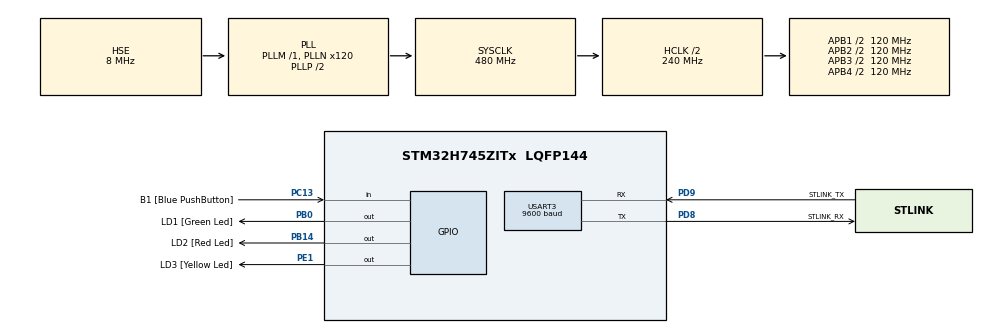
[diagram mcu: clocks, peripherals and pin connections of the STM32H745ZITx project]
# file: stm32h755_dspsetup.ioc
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CortexM4.IPs=BDMA,CORTEX_M4\:I,DEBUG,DMA,FATFS_M4\:I,FREERTOS_M4\:I,GPIO,IWDG2\:I,MDMA,NVIC2\:I,OPENAMP_M4\:I,PDM2PCM_M4\:I,PWR,RCC,RESMGR_UTILITY,SYS_M4\:I,USB_DEVICE_M4\:I,USB_HOST_M4\:I,VREFBUF,WWDG2\:I,USART3
CortexM4.Pins=PE1
CortexM7.IPs=BDMA\:I,CORTEX_M7\:I,DEBUG\:I,DMA\:I,FATFS_M7\:I,FREERTOS_M7\:I,GPIO\:I,IWDG1\:I,MDMA\:I,NVIC1\:I,OPENAMP_M7\:I,PDM2PCM_M7\:I,PWR\:I,RCC\:I,RESMGR_UTILITY\:I,SYS\:I,USB_DEVICE_M7\:I,USB_HOST_M7\:I,VREFBUF\:I,WWDG1\:I,USART3\:I
CortexM7.Pins=PC13,PB0,PB14
Mcu.Family=STM32H7
Mcu.Name=STM32H745ZITx
Mcu.Package=LQFP144
NVIC1.PriorityGroup=NVIC_PRIORITYGROUP_4
NVIC2.PriorityGroup=NVIC_PRIORITYGROUP_4
PA13\ (JTMS/SWDIO).Mode=Serial_Wire
PA13\ (JTMS/SWDIO).PinAttribute=CortexM7
PA13\ (JTMS/SWDIO).Signal=DEBUG_JTMS-SWDIO
PA14\ (JTCK/SWCLK).Mode=Serial_Wire
PA14\ (JTCK/SWCLK).PinAttribute=CortexM7
PA14\ (JTCK/SWCLK).Signal=DEBUG_JTCK-SWCLK
PB0.GPIO_Label=LD1 [Green Led]
PB0.PinAttribute=CortexM7
PB0.Signal=GPIO_Output
PB14.GPIO_Label=LD2 [Red Led]
PB14.PinAttribute=CortexM7
PB14.Signal=GPIO_Output
PC13.GPIO_Label=B1 [Blue PushButton]
PC13.PinAttribute=CortexM7
PC13.Signal=GPIO_Input
PC14-OSC32_IN\ (OSC32_IN).Mode=LSE-External-Oscillator
PC14-OSC32_IN\ (OSC32_IN).PinAttribute=CortexM7
PC14-OSC32_IN\ (OSC32_IN).Signal=RCC_OSC32_IN
PC15-OSC32_OUT\ (OSC32_OUT).Mode=LSE-External-Oscillator
PC15-OSC32_OUT\ (OSC32_OUT).PinAttribute=CortexM7
PC15-OSC32_OUT\ (OSC32_OUT).Signal=RCC_OSC32_OUT
PD8.GPIO_Label=STLINK_RX
PD8.Mode=Asynchronous
PD8.PinAttribute=CortexM7
PD8.Signal=USART3_TX
PD9.GPIO_Label=STLINK_TX
PD9.Mode=Asynchronous
PD9.PinAttribute=CortexM7
PD9.Signal=USART3_RX
PE1.GPIO_Label=LD3 [Yellow Led]
PE1.PinAttribute=CortexM4
PE1.Signal=GPIO_Output
PH0-OSC_IN\ (PH0).Mode=HSE-External-Clock-Source
PH0-OSC_IN\ (PH0).PinAttribute=CortexM7
PH0-OSC_IN\ (PH0).Signal=RCC_OSC_IN
ProjectManager.HeapSize=M4-0x200,M7-0x200
ProjectManager.StackSize=M4-0x400,M7-0x400
ProjectManager.TargetToolchain=STM32CubeIDE
RCC.ADCFreq_Value=16125000
RCC.APB1Freq_Value=120000000
RCC.APB2Freq_Value=120000000
RCC.APB3Freq_Value=120000000
RCC.APB4Freq_Value=120000000
RCC.CortexFreq_Value=480000000
RCC.D1PPRE=RCC_APB3_DIV2
RCC.D2PPRE1=RCC_APB1_DIV2
RCC.D2PPRE2=RCC_APB2_DIV2
RCC.D3PPRE=RCC_APB4_DIV2
RCC.DIVM1=1
RCC.DIVN1=120
RCC.HCLKFreq_Value=240000000
RCC.HPRE=RCC_HCLK_DIV2
RCC.HSE_VALUE=8000000
RCC.PLLSourceVirtual=RCC_PLLSOURCE_HSE
RCC.SYSCLKFreq_VALUE=480000000
RCC.SYSCLKSource=RCC_SYSCLKSOURCE_PLLCLK
RCC.USBFreq_Value=480000000
SYS.userName=SYS_M7
USART3.BaudRate=9600
USART3.VirtualMode-Asynchronous=VM_ASYNC
VP_SYS_M4_VS_Systick.Mode=SysTick
board=custom

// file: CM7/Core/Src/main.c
/* USER CODE BEGIN Header */
/**
  ******************************************************************************
  * @file           : main.c
  * @brief          : Main program body
  ******************************************************************************
  * @attention
  *
  * Copyright (c) 2024 STMicroelectronics.
  * All rights reserved.
  *
  * This software is licensed under terms that can be found in the LICENSE file
  * in the root directory of this software component.
  * If no LICENSE file comes with this software, it is provided AS-IS.
  *
  ******************************************************************************
  */
/* USER CODE END Header */
#include "main.h"

/* USER CODE BEGIN Includes */
#include <stdio.h>
#include "math.h"
#include "arm_math.h"
#include "arm_const_structs.h"
#define N 32
/* USER CODE END Includes */

/* USER CODE BEGIN PTD */
typedef union{
	float valf;
	uint32_t vali32;
	uint8_t vali8[4];
} FloatTOintType;
/* USER CODE END PTD */

/* USER CODE BEGIN PD */

#ifndef HSEM_ID_0
#define HSEM_ID_0 (0U) /* HW semaphore 0*/
#endif
/* USER CODE END PD */

UART_HandleTypeDef huart3;

/* USER CODE BEGIN PV */
int n;
float w0=PI/16;
float s[N];
/* USER CODE END PV */

void SystemClock_Config(void);
static void MX_GPIO_Init(void);
static void MX_USART3_UART_Init(void);

int main(void)
{
/* USER CODE BEGIN Boot_Mode_Sequence_0 */
  int32_t timeout;
/* USER CODE END Boot_Mode_Sequence_0 */

/* USER CODE BEGIN Boot_Mode_Sequence_1 */
  /* Wait until CPU2 boots and enters in stop mode or timeout*/
  timeout = 0xFFFF;
  while((__HAL_RCC_GET_FLAG(RCC_FLAG_D2CKRDY) != RESET) && (timeout-- > 0));
  if ( timeout < 0 )
  {
  Error_Handler();
  }
/* USER CODE END Boot_Mode_Sequence_1 */
  /* MCU Configuration--------------------------------------------------------*/

  /* Reset of all peripherals, Initializes the Flash interface and the Systick. */
  HAL_Init();

  /* Configure the system clock */
  SystemClock_Config();
/* USER CODE BEGIN Boot_Mode_Sequence_2 */
/* When system initialization is finished, Cortex-M7 will release Cortex-M4 by means of
HSEM notification */
/*HW semaphore Clock enable*/
__HAL_RCC_HSEM_CLK_ENABLE();
/*Take HSEM */
HAL_HSEM_FastTake(HSEM_ID_0);
/*Release HSEM in order to notify the CPU2(CM4)*/
HAL_HSEM_Release(HSEM_ID_0,0);
/* wait until CPU2 wakes up from stop mode */
timeout = 0xFFFF;
while((__HAL_RCC_GET_FLAG(RCC_FLAG_D2CKRDY) == RESET) && (timeout-- > 0));
if ( timeout < 0 )
{
Error_Handler();
}
/* USER CODE END Boot_Mode_Sequence_2 */

  /* Initialize all configured peripherals */
  MX_GPIO_Init();
  MX_USART3_UART_Init();

  /* Infinite loop */
  /* USER CODE BEGIN WHILE */
  uint8_t Buffer[30];

     for(n=0;n<N;n++){
       s[n]=sin(w0*(float)n);
     }

     FloatTOintType ToBuff;

    while (1) {
  	Buffer[0] = 0x6D;
  	HAL_UART_Transmit(&huart3, Buffer, 1, 1000);
  	HAL_Delay(10);
  	Buffer[0] = 96;//Modified from 16 to 32
  	HAL_UART_Transmit(&huart3, Buffer, 1, 1000);
  	HAL_Delay(10);

  	for(n=0;n<96;n++){//Modified from 16 to 32
  	   s[n]=sin(w0*(float)n);
  	   ToBuff.valf = s[n];
  	   Buffer[0] = ToBuff.vali8[0];
  	   Buffer[1] = ToBuff.vali8[1];
  	   Buffer[2] = ToBuff.vali8[2];
  	   Buffer[3] = ToBuff.vali8[3];
  	   HAL_UART_Transmit(&huart3, Buffer, 4, 1000);
  	   HAL_Delay(10);
  	}
  	HAL_GPIO_TogglePin(LD1_GPIO_Port, LD1_Pin);
  	HAL_Delay(10);

  	/* USER CODE END WHILE */

  }
}

void SystemClock_Config(void)
{
  RCC_OscInitTypeDef RCC_OscInitStruct = {0};
  RCC_ClkInitTypeDef RCC_ClkInitStruct = {0};

  /** Supply configuration update enable
  */
  HAL_PWREx_ConfigSupply(PWR_DIRECT_SMPS_SUPPLY);

  /** Configure the main internal regulator output voltage
  */
  __HAL_PWR_VOLTAGESCALING_CONFIG(PWR_REGULATOR_VOLTAGE_SCALE0);

  while(!__HAL_PWR_GET_FLAG(PWR_FLAG_VOSRDY)) {}

  /** Initializes the RCC Oscillators according to the specified parameters
  * in the RCC_OscInitTypeDef structure.
  */
  RCC_OscInitStruct.OscillatorType = RCC_OSCILLATORTYPE_HSE;
  RCC_OscInitStruct.HSEState = RCC_HSE_BYPASS;
  RCC_OscInitStruct.PLL.PLLState = RCC_PLL_ON;
  RCC_OscInitStruct.PLL.PLLSource = RCC_PLLSOURCE_HSE;
  RCC_OscInitStruct.PLL.PLLM = 1;
  RCC_OscInitStruct.PLL.PLLN = 120;
  RCC_OscInitStruct.PLL.PLLP = 2;
  RCC_OscInitStruct.PLL.PLLQ = 2;
  RCC_OscInitStruct.PLL.PLLR = 2;
  RCC_OscInitStruct.PLL.PLLRGE = RCC_PLL1VCIRANGE_3;
  RCC_OscInitStruct.PLL.PLLVCOSEL = RCC_PLL1VCOWIDE;
  RCC_OscInitStruct.PLL.PLLFRACN = 0;
  if (HAL_RCC_OscConfig(&RCC_OscInitStruct) != HAL_OK)
  {
    Error_Handler();
  }

  /** Initializes the CPU, AHB and APB buses clocks
  */
  RCC_ClkInitStruct.ClockType = RCC_CLOCKTYPE_HCLK|RCC_CLOCKTYPE_SYSCLK
                              |RCC_CLOCKTYPE_PCLK1|RCC_CLOCKTYPE_PCLK2
                              |RCC_CLOCKTYPE_D3PCLK1|RCC_CLOCKTYPE_D1PCLK1;
  RCC_ClkInitStruct.SYSCLKSource = RCC_SYSCLKSOURCE_PLLCLK;
  RCC_ClkInitStruct.SYSCLKDivider = RCC_SYSCLK_DIV1;
  RCC_ClkInitStruct.AHBCLKDivider = RCC_HCLK_DIV2;
  RCC_ClkInitStruct.APB3CLKDivider = RCC_APB3_DIV2;
  RCC_ClkInitStruct.APB1CLKDivider = RCC_APB1_DIV2;
  RCC_ClkInitStruct.APB2CLKDivider = RCC_APB2_DIV2;
  RCC_ClkInitStruct.APB4CLKDivider = RCC_APB4_DIV2;

  if (HAL_RCC_ClockConfig(&RCC_ClkInitStruct, FLASH_LATENCY_4) != HAL_OK)
  {
    Error_Handler();
  }
}

static void MX_USART3_UART_Init(void)
{

  huart3.Instance = USART3;
  huart3.Init.BaudRate = 115200;
  huart3.Init.WordLength = UART_WORDLENGTH_8B;
  huart3.Init.StopBits = UART_STOPBITS_1;
  huart3.Init.Parity = UART_PARITY_NONE;
  huart3.Init.Mode = UART_MODE_TX_RX;
  huart3.Init.HwFlowCtl = UART_HWCONTROL_NONE;
  huart3.Init.OverSampling = UART_OVERSAMPLING_16;
  huart3.Init.OneBitSampling = UART_ONE_BIT_SAMPLE_DISABLE;
  huart3.Init.ClockPrescaler = UART_PRESCALER_DIV1;
  huart3.AdvancedInit.AdvFeatureInit = UART_ADVFEATURE_NO_INIT;
  if (HAL_UART_Init(&huart3) != HAL_OK)
  {
    Error_Handler();
  }
  if (HAL_UARTEx_SetTxFifoThreshold(&huart3, UART_TXFIFO_THRESHOLD_1_8) != HAL_OK)
  {
    Error_Handler();
  }
  if (HAL_UARTEx_SetRxFifoThreshold(&huart3, UART_RXFIFO_THRESHOLD_1_8) != HAL_OK)
  {
    Error_Handler();
  }
  if (HAL_UARTEx_DisableFifoMode(&huart3) != HAL_OK)
  {
    Error_Handler();
  }

}

static void MX_GPIO_Init(void)
{
  GPIO_InitTypeDef GPIO_InitStruct = {0};

  /* GPIO Ports Clock Enable */
  __HAL_RCC_GPIOC_CLK_ENABLE();
  __HAL_RCC_GPIOH_CLK_ENABLE();
  __HAL_RCC_GPIOB_CLK_ENABLE();
  __HAL_RCC_GPIOD_CLK_ENABLE();
  __HAL_RCC_GPIOA_CLK_ENABLE();

  /*Configure GPIO pin Output Level */
  HAL_GPIO_WritePin(GPIOB, LD1_Pin|LD2_Pin, GPIO_PIN_RESET);

  /*Configure GPIO pin : B1_Pin */
  GPIO_InitStruct.Pin = B1_Pin;
  GPIO_InitStruct.Mode = GPIO_MODE_INPUT;
  GPIO_InitStruct.Pull = GPIO_NOPULL;
  HAL_GPIO_Init(B1_GPIO_Port, &GPIO_InitStruct);

  /*Configure GPIO pins : LD1_Pin LD2_Pin */
  GPIO_InitStruct.Pin = LD1_Pin|LD2_Pin;
  GPIO_InitStruct.Mode = GPIO_MODE_OUTPUT_PP;
  GPIO_InitStruct.Pull = GPIO_NOPULL;
  GPIO_InitStruct.Speed = GPIO_SPEED_FREQ_LOW;
  HAL_GPIO_Init(GPIOB, &GPIO_InitStruct);

}

void Error_Handler(void)
{
  __disable_irq();
  while (1)
  {
  }
}
